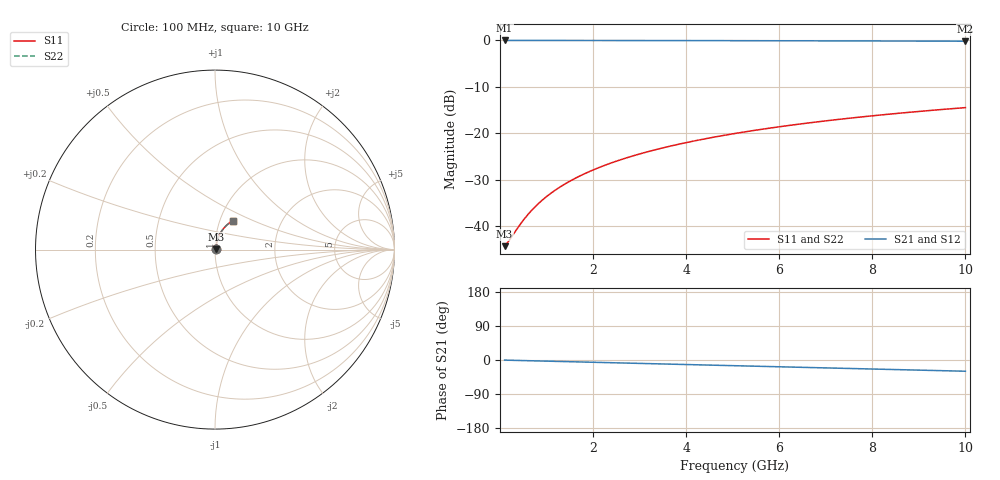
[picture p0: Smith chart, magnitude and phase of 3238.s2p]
# Hz S RI R 50.00
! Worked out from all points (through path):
!   100 points, 100 MHz to 10 GHz, reference 50 ohm
!   highest |S21| = -0.05 dB at 100 MHz (marker M1); lowest = -0.2 dB at 10 GHz (marker M2)
!   group delay of S21, straight-line fit = 8.24 ps
!   lowest |S11| = -44.3 dB at 100 MHz (marker M3), VSWR 1.01, Z = 50.6 + j0.198 ohm
!   |S11| at or under -10 dB: start of sweep to end of sweep
!   |S22| runs from -44.3 to -14.5 dB; largest |S21 - S12| = 0
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1e8  0.00575 0.00196  0.9942 -0.00519  0.9942 -0.00519  0.00575 0.00196
2e8  0.00582 0.00392  0.9942 -0.0104  0.9942 -0.0104  0.00582 0.00392
4e8  0.00599 0.00783  0.9939 -0.0208  0.9939 -0.0208  0.00599 0.00783
5e8  0.0061 0.00979  0.9938 -0.0259  0.9938 -0.0259  0.0061 0.00979
6e8  0.00622 0.0117  0.9936 -0.0311  0.9936 -0.0311  0.00622 0.0117
7e8  0.00637 0.0137  0.9933 -0.0363  0.9933 -0.0363  0.00637 0.0137
9e8  0.00672 0.0176  0.9928 -0.0467  0.9928 -0.0467  0.00672 0.0176
1.1e9  0.00715 0.0215  0.9922 -0.057  0.9922 -0.057  0.00715 0.0215
1.3e9  0.00766 0.0254  0.9914 -0.0674  0.9914 -0.0674  0.00766 0.0254
1.5e9  0.00825 0.0292  0.9905 -0.0777  0.9905 -0.0777  0.00825 0.0292
1.8e9  0.00928 0.035  0.989 -0.0932  0.989 -0.0932  0.00928 0.035
2.1e9  0.0105 0.0407  0.9871 -0.1086  0.9871 -0.1086  0.0105 0.0407
2.5e9  0.0124 0.0483  0.9843 -0.1291  0.9843 -0.1291  0.0124 0.0483
2.9e9  0.0146 0.0558  0.9809 -0.1495  0.9809 -0.1495  0.0146 0.0558
3.4e9  0.0178 0.065  0.9761 -0.1749  0.9761 -0.1749  0.0178 0.065
4.2e9  0.0238 0.0794  0.9668 -0.2151  0.9668 -0.2151  0.0238 0.0794
5.1e9  0.032 0.0948  0.9541 -0.2596  0.9541 -0.2596  0.032 0.0948
5.9e9  0.0405 0.1078  0.941 -0.2984  0.941 -0.2984  0.0405 0.1078
6.7e9  0.05 0.12  0.9261 -0.3363  0.9261 -0.3363  0.05 0.12
7.5e9  0.0604 0.1314  0.9096 -0.3734  0.9096 -0.3734  0.0604 0.1314
8.4e9  0.0731 0.143  0.8891 -0.4139  0.8891 -0.4139  0.0731 0.143
1e10  0.0981 0.1606  0.8481 -0.4826  0.8481 -0.4826  0.0981 0.1606
